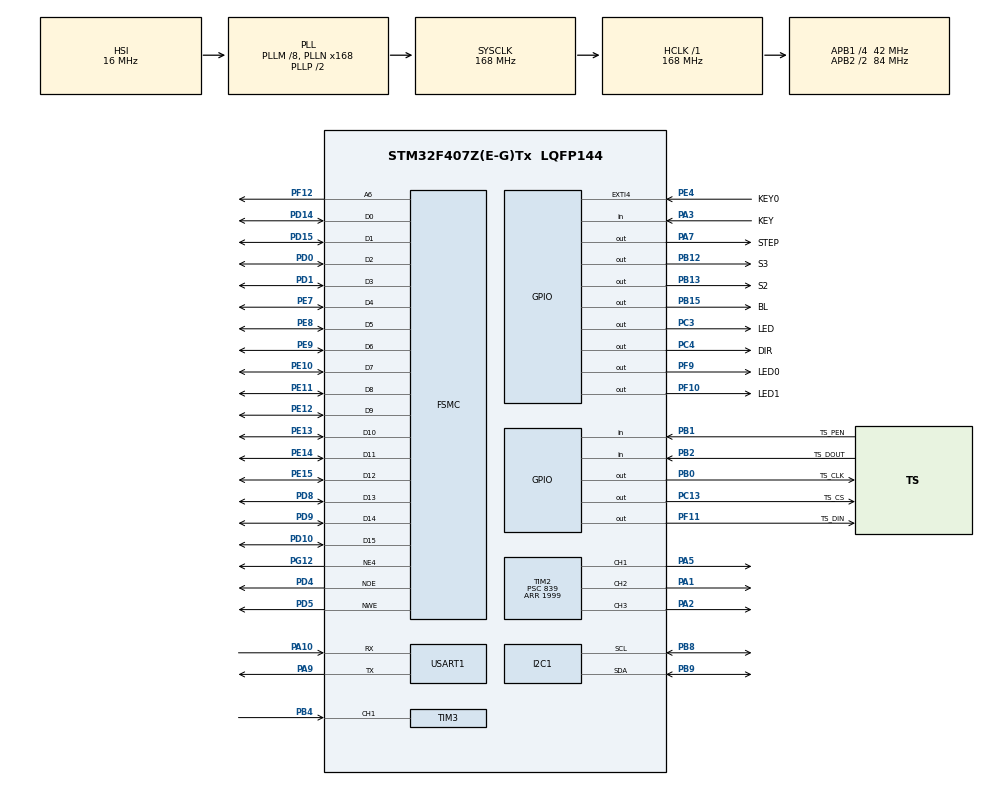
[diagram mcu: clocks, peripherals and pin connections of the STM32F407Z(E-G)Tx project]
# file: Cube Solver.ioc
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Dma.Request0=USART1_RX
Dma.Request1=USART1_TX
Dma.USART1_RX.0.Direction=DMA_PERIPH_TO_MEMORY
Dma.USART1_RX.0.FIFOMode=DMA_FIFOMODE_DISABLE
Dma.USART1_RX.0.Instance=DMA2_Stream2
Dma.USART1_RX.0.MemDataAlignment=DMA_MDATAALIGN_BYTE
Dma.USART1_RX.0.MemInc=DMA_MINC_ENABLE
Dma.USART1_RX.0.Mode=DMA_CIRCULAR
Dma.USART1_RX.0.PeriphDataAlignment=DMA_PDATAALIGN_BYTE
Dma.USART1_RX.0.PeriphInc=DMA_PINC_DISABLE
Dma.USART1_RX.0.Priority=DMA_PRIORITY_LOW
Dma.USART1_TX.1.Direction=DMA_MEMORY_TO_PERIPH
Dma.USART1_TX.1.FIFOMode=DMA_FIFOMODE_DISABLE
Dma.USART1_TX.1.Instance=DMA2_Stream7
Dma.USART1_TX.1.MemDataAlignment=DMA_MDATAALIGN_BYTE
Dma.USART1_TX.1.MemInc=DMA_MINC_ENABLE
Dma.USART1_TX.1.Mode=DMA_NORMAL
Dma.USART1_TX.1.PeriphDataAlignment=DMA_PDATAALIGN_BYTE
Dma.USART1_TX.1.PeriphInc=DMA_PINC_DISABLE
Dma.USART1_TX.1.Priority=DMA_PRIORITY_LOW
FSMC.AddressSetupTime4=8
FSMC.BusTurnAroundDuration4=0
FSMC.DataSetupTime4=8
Mcu.Family=STM32F4
Mcu.Name=STM32F407Z(E-G)Tx
Mcu.Package=LQFP144
NVIC.DMA2_Stream2_IRQn=true\:0\:0\:false\:false\:true\:false\:true
NVIC.DMA2_Stream7_IRQn=true\:0\:0\:false\:false\:true\:false\:true
NVIC.EXTI4_IRQn=true\:0\:0\:false\:false\:true\:true\:true
NVIC.PriorityGroup=NVIC_PRIORITYGROUP_2
NVIC.TIM1_TRG_COM_TIM11_IRQn=true\:0\:0\:true\:false\:true\:true\:true
NVIC.TIM1_UP_TIM10_IRQn=true\:3\:3\:true\:false\:true\:true\:true
NVIC.TIM3_IRQn=true\:1\:0\:true\:false\:true\:true\:true
PA1.Signal=S_TIM2_CH2
PA10.Mode=Asynchronous
PA10.Signal=USART1_RX
PA13.Mode=Trace_Asynchronous_SW
PA13.Signal=SYS_JTMS-SWDIO
PA14.Mode=Trace_Asynchronous_SW
PA14.Signal=SYS_JTCK-SWCLK
PA2.Signal=S_TIM2_CH3
PA3.GPIO_Label=KEY
PA3.GPIO_PuPd=GPIO_PULLUP
PA3.Signal=GPIO_Input
PA5.Signal=S_TIM2_CH1_ETR
PA7.GPIO_Label=STEP
PA7.Signal=GPIO_Output
PA9.Mode=Asynchronous
PA9.Signal=USART1_TX
PB0.GPIO_Label=TS_CLK
PB0.Signal=GPIO_Output
PB1.GPIO_Label=TS_PEN
PB1.Signal=GPIO_Input
PB12.GPIO_Label=S3
PB12.Signal=GPIO_Output
PB13.GPIO_Label=S2
PB13.Signal=GPIO_Output
PB15.GPIO_Label=BL
PB15.Signal=GPIO_Output
PB2.GPIO_Label=TS_DOUT
PB2.Signal=GPIO_Input
PB3.Mode=Trace_Asynchronous_SW
PB3.Signal=SYS_JTDO-SWO
PB4.Signal=S_TIM3_CH1
PB8.Mode=I2C
PB8.Signal=I2C1_SCL
PB9.Mode=I2C
PB9.Signal=I2C1_SDA
PC13-ANTI_TAMP.GPIO_Label=TS_CS
PC13-ANTI_TAMP.Signal=GPIO_Output
PC14-OSC32_IN.Mode=LSE-External-Oscillator
PC14-OSC32_IN.Signal=RCC_OSC32_IN
PC15-OSC32_OUT.Mode=LSE-External-Oscillator
PC15-OSC32_OUT.Signal=RCC_OSC32_OUT
PC3.GPIO_Label=LED
PC3.Signal=GPIO_Output
PC4.GPIO_Label=DIR
PC4.Signal=GPIO_Output
PD0.Signal=FSMC_D2_DA2
PD1.Signal=FSMC_D3_DA3
PD10.Signal=FSMC_D15_DA15
PD14.Signal=FSMC_D0_DA0
PD15.Signal=FSMC_D1_DA1
PD4.Signal=FSMC_NOE
PD5.Signal=FSMC_NWE
PD8.Signal=FSMC_D13_DA13
PD9.Signal=FSMC_D14_DA14
PE10.Signal=FSMC_D7_DA7
PE11.Signal=FSMC_D8_DA8
PE12.Signal=FSMC_D9_DA9
PE13.Signal=FSMC_D10_DA10
PE14.Signal=FSMC_D11_DA11
PE15.Signal=FSMC_D12_DA12
PE4.GPIO_Label=KEY0
PE4.Signal=GPXTI4
PE7.Signal=FSMC_D4_DA4
PE8.Signal=FSMC_D5_DA5
PE9.Signal=FSMC_D6_DA6
PF10.GPIO_Label=LED1
PF10.PinState=GPIO_PIN_SET
PF10.Signal=GPIO_Output
PF11.GPIO_Label=TS_DIN
PF11.Signal=GPIO_Output
PF12.Signal=FSMC_A6
PF9.GPIO_Label=LED0
PF9.PinState=GPIO_PIN_SET
PF9.Signal=GPIO_Output
PG12.Mode=NorPsramChipSelect4_4
PG12.Signal=FSMC_NE4
PH0-OSC_IN.Mode=HSE-External-Oscillator
PH0-OSC_IN.Signal=RCC_OSC_IN
PH1-OSC_OUT.Mode=HSE-External-Oscillator
PH1-OSC_OUT.Signal=RCC_OSC_OUT
ProjectManager.HeapSize=0x8200
ProjectManager.StackSize=0x400
ProjectManager.TargetToolchain=MDK-ARM V5
RCC.48MHZClocksFreq_Value=84000000
RCC.AHBFreq_Value=168000000
RCC.APB1CLKDivider=RCC_HCLK_DIV4
RCC.APB1Freq_Value=42000000
RCC.APB1TimFreq_Value=84000000
RCC.APB2CLKDivider=RCC_HCLK_DIV2
RCC.APB2Freq_Value=84000000
RCC.APB2TimFreq_Value=168000000
RCC.CortexFreq_Value=168000000
RCC.HCLKFreq_Value=168000000
RCC.HSE_VALUE=8000000
RCC.HSI_VALUE=16000000
RCC.PLLM=8
RCC.PLLN=168
RCC.SYSCLKFreq_VALUE=168000000
RCC.SYSCLKSource=RCC_SYSCLKSOURCE_PLLCLK
RCC.VCOOutputFreq_Value=336000000
SH.FSMC_A6.0=FSMC_A6,A6_4
SH.FSMC_D0_DA0.0=FSMC_D0,16b-d4
SH.FSMC_D10_DA10.0=FSMC_D10,16b-d4
SH.FSMC_D11_DA11.0=FSMC_D11,16b-d4
SH.FSMC_D12_DA12.0=FSMC_D12,16b-d4
SH.FSMC_D13_DA13.0=FSMC_D13,16b-d4
SH.FSMC_D14_DA14.0=FSMC_D14,16b-d4
SH.FSMC_D15_DA15.0=FSMC_D15,16b-d4
SH.FSMC_D1_DA1.0=FSMC_D1,16b-d4
SH.FSMC_D2_DA2.0=FSMC_D2,16b-d4
SH.FSMC_D3_DA3.0=FSMC_D3,16b-d4
SH.FSMC_D4_DA4.0=FSMC_D4,16b-d4
SH.FSMC_D5_DA5.0=FSMC_D5,16b-d4
SH.FSMC_D6_DA6.0=FSMC_D6,16b-d4
SH.FSMC_D7_DA7.0=FSMC_D7,16b-d4
SH.FSMC_D8_DA8.0=FSMC_D8,16b-d4
SH.FSMC_D9_DA9.0=FSMC_D9,16b-d4
SH.FSMC_NOE.0=FSMC_NOE,Lcd4
SH.FSMC_NWE.0=FSMC_NWE,Lcd4
SH.S_TIM2_CH1_ETR.0=TIM2_CH1,PWM Generation1 CH1
SH.S_TIM2_CH2.0=TIM2_CH2,PWM Generation2 CH2
SH.S_TIM2_CH3.0=TIM2_CH3,PWM Generation3 CH3
SH.S_TIM3_CH1.0=TIM3_CH1,Input_Capture1_from_TI1
TIM10.AutoReloadPreload=TIM_AUTORELOAD_PRELOAD_ENABLE
TIM10.Period=10000
TIM10.Prescaler=16800
TIM11.AutoReloadPreload=TIM_AUTORELOAD_PRELOAD_ENABLE
TIM11.Period=10000
TIM11.Prescaler=16800
TIM2.AutoReloadPreload=TIM_AUTORELOAD_PRELOAD_ENABLE
TIM2.Channel-PWM\ Generation1\ CH1=TIM_CHANNEL_1
TIM2.Channel-PWM\ Generation2\ CH2=TIM_CHANNEL_2
TIM2.Channel-PWM\ Generation3\ CH3=TIM_CHANNEL_3
TIM2.Period=1999
TIM2.Prescaler=839
TIM3.AutoReloadPreload=TIM_AUTORELOAD_PRELOAD_DISABLE
TIM3.Channel-Input_Capture1_from_TI1=TIM_CHANNEL_1
TIM3.ICFilter_CH1=2
TIM3.ICPrescaler-Input_Capture1_from_TI1=TIM_ICPSC_DIV8
TIM3.Period=60000
TIM3.Prescaler=84
USART1.VirtualMode=VM_ASYNC
VP_TIM10_VS_ClockSourceINT.Mode=Enable_Timer
VP_TIM11_VS_ClockSourceINT.Mode=Enable_Timer
VP_TIM2_VS_ClockSourceINT.Mode=Internal
VP_TIM3_VS_ClockSourceINT.Mode=Internal
board=custom

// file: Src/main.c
/* USER CODE BEGIN Header */
/**
  ******************************************************************************
  * @file           : main.c
  * @brief          : Main program body
  ******************************************************************************
  * @attention
  *
  * <h2><center>&copy; Copyright (c) 2020 STMicroelectronics.
  * All rights reserved.</center></h2>
  *
  * This software component is licensed by ST under BSD 3-Clause license,
  * the "License"; You may not use this file except in compliance with the
  * License. You may obtain a copy of the License at:
  *                        opensource.org/licenses/BSD-3-Clause
  *
  ******************************************************************************
  */
/* USER CODE END Header */

#include "main.h"
#include "dma.h"
#include "i2c.h"
#include "tim.h"
#include "usart.h"
#include "gpio.h"
#include "fsmc.h"

/* USER CODE BEGIN Includes */
#include <stdio.h>
#include "color.h"
#include "delay.h"
#include "solver.h"
#include "lcd.h"
#include "move.h"
#include "display.h"

char cube[6][9] = {2,2,2,2,2,2,2,2,2,
									 2,2,2,2,2,2,2,2,2,
									 2,2,2,2,2,2,2,2,2,
									 2,2,2,2,2,2,2,2,2,
									 2,2,2,2,2,2,2,2,2,
									 2,2,2,2,2,2,2,2,2};
char col[20][3] = {0};
char res[70] = {0};
unsigned char buf[10] = {0};
int i,j;
char test(void);

/* USER CODE END Includes */

void SystemClock_Config(void);

int main(void)
{

  /* MCU Configuration--------------------------------------------------------*/

  /* Reset of all peripherals, Initializes the Flash interface and the Systick. */
  HAL_Init();

  /* Configure the system clock */
  SystemClock_Config();

  /* Initialize all configured peripherals */
  MX_GPIO_Init();
  MX_DMA_Init();
  MX_FSMC_Init();
  MX_I2C1_Init();
  MX_TIM2_Init();
  MX_TIM3_Init();
  MX_USART1_UART_Init();
  MX_TIM10_Init();
  MX_TIM11_Init();
  /* USER CODE BEGIN 2 */

	HAL_TIM_Base_Start_IT(&htim10);		//开启工作指示灯，1HZ频率闪烁

	LCD_Init();		//显示初始界面
	Button_Display(0);
	Cube_Display(cube);

	Step_Init();		//电机归零

  /* USER CODE END 2 */

  /* Infinite loop */
  while (1)
  {

    /* USER CODE BEGIN 3 */

		if(TS_Scan() == 1)
		{
			if(POINT_X > 30 && POINT_X < 210 && POINT_Y > 200 && POINT_Y < 270)		//检测到触屏信号后进入解算流程
			{
				Button_Display(1);
				delay_ms(1000);

				if(Getcolor(cube,col))		//检测颜色出错后进入错误界面
				{
					Button_Display(2);
					while(1)
					{
						if(TS_Scan() == 1)
						{
							if(POINT_X > 30 && POINT_X < 210 && POINT_Y > 200 && POINT_Y < 270)
							{
								HAL_NVIC_SystemReset();
							}
						}
					}
				}
				HAL_TIM_Base_Start_IT(&htim11);		//开启定时器，20s内如果未得出还原方法则判定出错
				solve(col,res);
				HAL_TIM_Base_Stop_IT(&htim11);
				printf("ans = %s\r\n",res);

				Cube_Restore(res);		//还原魔方
				HAL_NVIC_SystemReset();
			}
		}
  }
  /* USER CODE END 3 */
}

void SystemClock_Config(void)
{
  RCC_OscInitTypeDef RCC_OscInitStruct = {0};
  RCC_ClkInitTypeDef RCC_ClkInitStruct = {0};

  /** Configure the main internal regulator output voltage
  */
  __HAL_RCC_PWR_CLK_ENABLE();
  __HAL_PWR_VOLTAGESCALING_CONFIG(PWR_REGULATOR_VOLTAGE_SCALE1);
  /** Initializes the CPU, AHB and APB busses clocks
  */
  RCC_OscInitStruct.OscillatorType = RCC_OSCILLATORTYPE_HSI;
  RCC_OscInitStruct.HSIState = RCC_HSI_ON;
  RCC_OscInitStruct.HSICalibrationValue = RCC_HSICALIBRATION_DEFAULT;
  RCC_OscInitStruct.PLL.PLLState = RCC_PLL_ON;
  RCC_OscInitStruct.PLL.PLLSource = RCC_PLLSOURCE_HSI;
  RCC_OscInitStruct.PLL.PLLM = 8;
  RCC_OscInitStruct.PLL.PLLN = 168;
  RCC_OscInitStruct.PLL.PLLP = RCC_PLLP_DIV2;
  RCC_OscInitStruct.PLL.PLLQ = 4;
  if (HAL_RCC_OscConfig(&RCC_OscInitStruct) != HAL_OK)
  {
    Error_Handler();
  }
  /** Initializes the CPU, AHB and APB busses clocks
  */
  RCC_ClkInitStruct.ClockType = RCC_CLOCKTYPE_HCLK|RCC_CLOCKTYPE_SYSCLK
                              |RCC_CLOCKTYPE_PCLK1|RCC_CLOCKTYPE_PCLK2;
  RCC_ClkInitStruct.SYSCLKSource = RCC_SYSCLKSOURCE_PLLCLK;
  RCC_ClkInitStruct.AHBCLKDivider = RCC_SYSCLK_DIV1;
  RCC_ClkInitStruct.APB1CLKDivider = RCC_HCLK_DIV4;
  RCC_ClkInitStruct.APB2CLKDivider = RCC_HCLK_DIV2;

  if (HAL_RCC_ClockConfig(&RCC_ClkInitStruct, FLASH_LATENCY_5) != HAL_OK)
  {
    Error_Handler();
  }
}

void Error_Handler(void)
{
}

/************************ (C) COPYRIGHT STMicroelectronics *****END OF FILE****/
